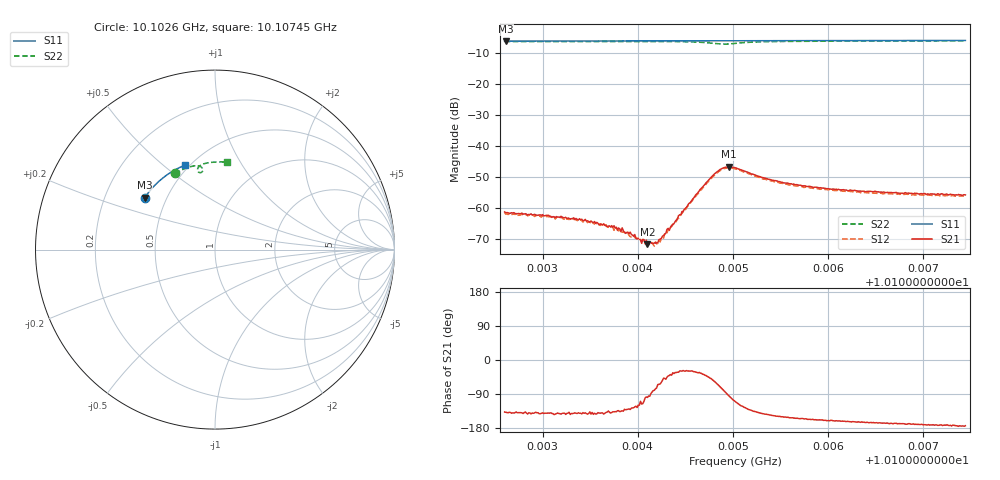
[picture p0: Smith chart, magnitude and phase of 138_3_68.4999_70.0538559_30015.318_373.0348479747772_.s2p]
#  HZ  S  RI  R  50.00
! Rohde & Schwarz Vector Network Analyzer
! Rohde-Schwarz,ZNB20-2Port,1311601062101988,3.16
! Created: UTC 3/20/2024, 5:09:55 PM
! freq[Hz]  re:S11  im:S11  re:S21  im:S21  re:S12  im:S12  re:S22  im:S22
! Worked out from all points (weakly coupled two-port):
!   401 points, 10.1026 GHz to 10.10745 GHz, reference 50 ohm
!   highest |S21| = -46.74 dB at 10.10496 GHz (marker M1); lowest = -71.7 dB at 10.1041 GHz (marker M2)
!   lowest |S11| = -6.3 dB at 10.10261 GHz (marker M3), VSWR 2.90, Z = 18.9 + j14.3 ohm
!   |S11| at or under -10 dB: nowhere
!   |S22| runs from -7.2 to -6.2 dB; largest |S21 - S12| = 0.00047
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1.0102601e10  -0.3917 0.2889  -0.000635 -0.000587  -0.000577 -0.000592  -0.2229 0.424
1.0102613e10  -0.3914 0.2894  -0.000619 -0.000562  -0.000567 -0.000562  -0.2222 0.4244
1.010317e10  -0.3716 0.317  -0.000556 -0.000449  -0.000509 -0.000473  -0.1896 0.4415
1.0103412e10  -0.3624 0.3285  -0.00052 -0.000404  -0.000441 -0.00044  -0.1746 0.4481
1.0103751e10  -0.3488 0.3442  -0.000377 -0.000353  -0.000313 -0.000305  -0.1528 0.4567
1.0103872e10  -0.3439 0.3495  -0.000258 -0.000293  -0.000235 -0.000321  -0.1447 0.4594
1.0103945e10  -0.3409 0.3527  -0.000216 -0.000294  -0.000181 -0.000303  -0.1394 0.4609
1.0104006e10  -0.3384 0.3555  -0.000159 -0.000284  -0.000139 -0.000299  -0.1353 0.4622
1.0104103e10  -0.3343 0.3598  -3.97e-05 -0.000257  -1.39e-05 -0.000264  -0.1281 0.464
1.0104187e10  -0.3306 0.3634  6.62e-05 -0.000266  8.09e-05 -0.000273  -0.1216 0.4654
1.0104224e10  -0.3292 0.3649  0.000135 -0.000278  0.000159 -0.000257  -0.1188 0.4659
1.0104357e10  -0.3233 0.3704  0.000401 -0.000338  0.000423 -0.000269  -0.1074 0.4672
1.0104636e10  -0.3109 0.382  0.00148 -0.000996  0.0015 -0.000797  -0.0795 0.462
1.0104781e10  -0.304 0.3878  0.00203 -0.00251  0.00212 -0.00225  -0.0679 0.4459
1.0104878e10  -0.2996 0.3913  0.0012 -0.00408  0.00152 -0.00382  -0.0743 0.4311
1.0104963e10  -0.2959 0.3946  -0.000444 -0.00458  -2.7e-05 -0.00442  -0.0887 0.43
1.0105023e10  -0.2931 0.3967  -0.00144 -0.00422  -0.00104 -0.00415  -0.0956 0.4371
1.0105399e10  -0.2751 0.4108  -0.00234 -0.00163  -0.00211 -0.00175  -0.0766 0.4721
1.0105835e10  -0.2534 0.426  -0.00199 -0.000864  -0.00183 -0.000997  -0.0434 0.4827
1.0106198e10  -0.2346 0.4373  -0.00185 -0.00059  -0.00173 -0.000718  -0.0179 0.4865
1.0106646e10  -0.2109 0.4506  -0.00173 -0.000371  -0.00161 -0.000527  0.0121 0.4884
1.0107446e10  -0.1668 0.4704  -0.00161 -0.000187  -0.0015 -0.00033  0.0645 0.4865
